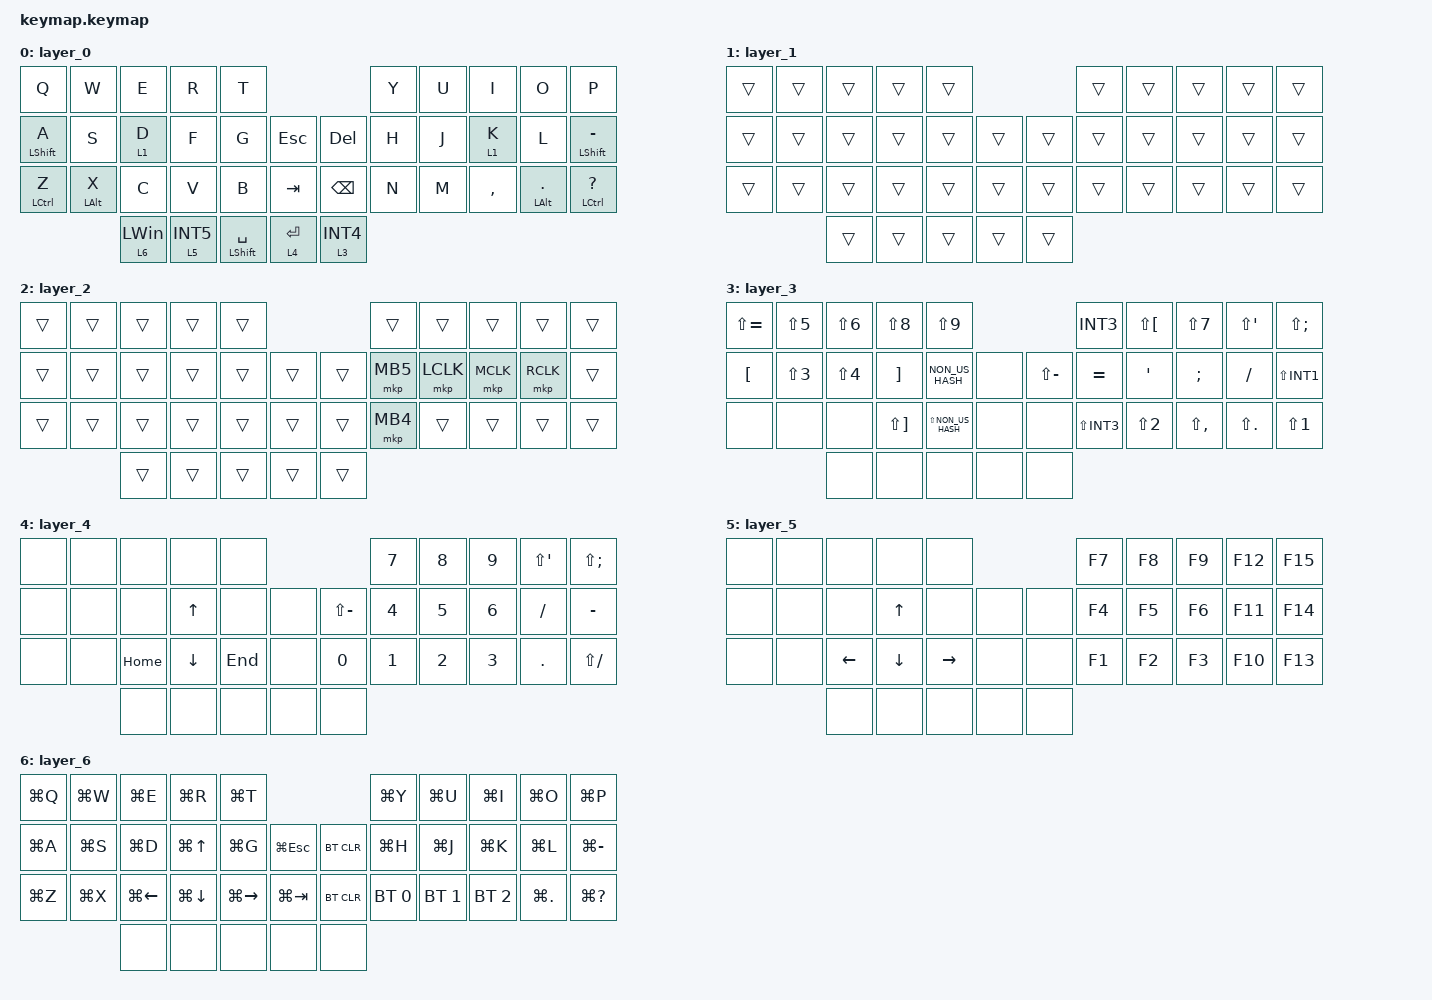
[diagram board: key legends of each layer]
#include <behaviors.dtsi>
#include <dt-bindings/zmk/keys.h>
#include <dt-bindings/zmk/bt.h>
#include <dt-bindings/zmk/mouse.h> // マウス機能を使うための定義ファイル
#include <input/processors.dtsi>   // オートマウスレイヤ延長の定義読み込み

&lt {
    flavor = "balanced";
    tapping-term-ms = <200>;
    quick-tap-ms = <200>; // 2連打ホールドでキーを連打リピート
};

&mt {
    flavor = "balanced";
    tapping-term-ms = <200>;
    quick-tap-ms = <200>; // 2連打ホールドでキーを連打リピート
};

&mkp_input_listener {
    input-processors = <&zip_temp_layer 2 600>; // マウスボタン押下時のレイヤー時間延長を追加
                    };

/ {
    macros {
        zoom_in: zoom_in {  //拡大のマクロ定義作成
            compatible = "zmk,behavior-macro";
            #binding-cells = <0>;
            bindings = <&macro_press &kp LCTRL>,<&macro_wait_time 50>,
                       <&macro_tap &mkp SCRL_UP>,<&macro_wait_time 50>,
                       <&macro_release &kp LCTRL>;
                         };
        zoom_out: zoom_out { //縮小のマクロ定義作成
            compatible = "zmk,behavior-macro";
            #binding-cells = <0>;
            bindings = <&macro_press &kp LCTRL>,<&macro_wait_time 50>,
                       <&macro_tap &mkp SCRL_DOWN>,<&macro_wait_time 50>,
                       <&macro_release &kp LCTRL>;
                            };
           };
       
       
    keymap {
        compatible = "zmk,keymap";

        layer_0 {
            bindings =<
                &kp Q         &kp W        &kp E       &kp R        &kp T                                         &kp Y      &kp U      &kp I      &kp O        &kp P
				&mt LSHFT A   &kp S        &lt 1 D     &kp F        &kp G            &kp ESC          &kp DEL     &kp H      &kp J      &lt 1 K    &kp L        &mt LSHFT MINUS
				&mt LCTRL Z   &mt LALT X   &kp C       &kp V        &kp B            &kp TAB          &kp BSPC    &kp N      &kp M      &kp COMMA  &mt LALT DOT &mt LCTRL QMARK
				                           &lt 6 LWIN  &lt 5 INT5   &mt LSHFT SPACE  &lt 4 ENTER      &lt 3 INT4
                      >;
                };

        // 📜 Layer 1: スクロール専用レイヤー
        layer_1 {
            bindings = <
                &trans       &trans       &trans       &trans        &trans                                   &trans       &trans        &trans       &trans        &trans
                &trans       &trans       &trans       &trans        &trans       &trans       &trans         &trans       &trans        &trans       &trans        &trans
                &trans       &trans       &trans       &trans        &trans       &trans       &trans         &trans       &trans        &trans       &trans        &trans
                                                       &trans        &trans       &trans       &trans         &trans
                       >;
                };

        // 📜 Layer 2: オートマウスレイヤ
        layer_2 {
            bindings = <
                &trans       &trans       &trans       &trans        &trans                                   &trans       &trans        &trans       &trans        &trans
                &trans       &trans       &trans       &trans        &trans       &trans       &trans         &mkp MB5     &mkp LCLK     &mkp MCLK    &mkp RCLK     &trans
                &trans       &trans       &trans       &trans        &trans       &trans       &trans         &mkp MB4     &trans        &trans       &trans        &trans
                                                       &trans        &trans       &trans       &trans         &trans
                       >;
                };

        layer_3 {
            bindings =<            
				&kp LS(EQUAL) &kp LS(N5)   &kp LS(N6)   &kp LS(N8)   &kp LS(N9)                   &kp INT3      &kp LS(LBKT) &kp LS(N7)   &kp LS(SQT)  &kp LS(SEMI)
				&kp LBKT     &kp LS(N3)   &kp LS(N4)   &kp RBKT     &kp NON_US_HASH     &none    &kp LS(MINUS) &kp EQUAL    &kp SQT      &kp SEMI     &kp SLASH    &kp LS(INT1)
				&none        &none        &none        &kp LS(RBKT) &kp LS(NON_US_HASH) &none    &none         &kp LS(INT3) &kp LS(N2)   &kp LS(COMMA) &kp LS(DOT) &kp LS(N1)
                                                        &none        &none              &none    &none         &none
                     >;
               };

        layer_4 {
            bindings =<            
                &none         &none        &none        &none        &none                                      &kp N7       &kp N8       &kp N9       &kp LS(SQT)  &kp LS(SEMI)
                &none         &none        &none        &kp UP       &none        &none           &kp LS(MINUS) &kp N4       &kp N5       &kp N6       &kp SLASH    &kp MINUS
                &none         &none        &kp HOME     &kp DOWN     &kp END      &none           &kp N0        &kp N1       &kp N2       &kp N3       &kp DOT      &kp LS(SLASH)
                                                        &none        &none        &none           &none         &none
                      >;
                };

        layer_5 {
            bindings =<
				&none       &none       &none       &none        &none                                   &kp F7   &kp F8      &kp F9    &kp F12        &kp F15
				&none       &none       &none       &kp UP       &none        &none       &none          &kp F4   &kp F5      &kp F6    &kp F11        &kp F14
				&none       &none       &kp LEFT    &kp DOWN     &kp RIGHT    &none       &none          &kp F1   &kp F2      &kp F3    &kp F10        &kp F13
                                                    &none        &none        &none       &none          &none
                      >;
                };
        
        // Layer 6: Windows操作レイヤー
        layer_6 {
            bindings = <
                &kp LG(Q)     &kp LG(W)    &kp LG(E)    &kp LG(R)    &kp LG(T)                                            &kp LG(Y)    &kp LG(U)    &kp LG(I)    &kp LG(O)    &kp LG(P)
                &kp LG(A)     &kp LG(S)    &kp LG(D)    &kp LG(UP)   &kp LG(G)     &kp LG(ESC)        &bt BT_CLR          &kp LG(H)    &kp LG(J)    &kp LG(K)    &kp LG(L)    &kp LG(MINUS)
                &kp LG(Z)     &kp LG(X)    &kp LG(LEFT) &kp LG(DOWN) &kp LG(RIGHT) &kp LG(TAB)        &bt BT_CLR          &bt BT_SEL 0 &bt BT_SEL 1 &bt BT_SEL 2 &kp LG(DOT)  &kp LG(QMARK)
                                                        &none        &none         &none              &none               &none
                     >;
                };
                
        
           };
};
